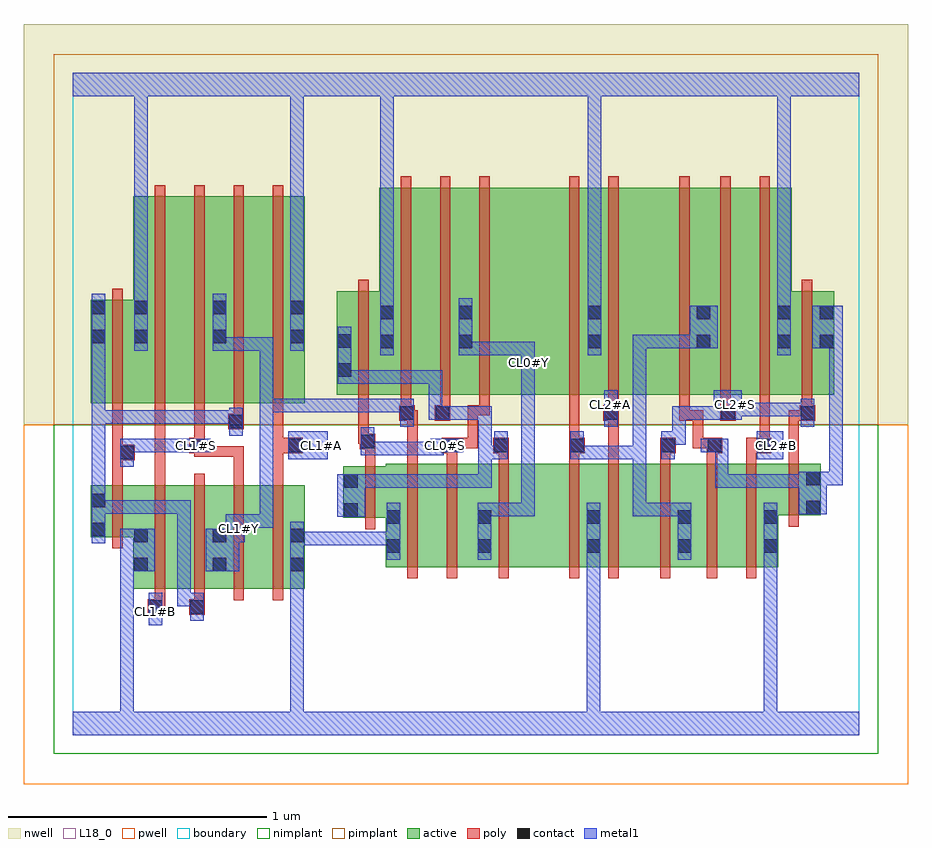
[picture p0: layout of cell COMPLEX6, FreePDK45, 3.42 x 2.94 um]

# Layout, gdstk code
import gdstk
lib = gdstk.Library(unit=1e-6, precision=1e-09)
def R(c, l, rs):  # rectangles x0, y0, x1, y1
    for r in rs: c.add(gdstk.rectangle(r[:2], r[2:], *l))
def A(c, l, x, y, w, h, nx, ny, dx, dy):  # array of equal rectangles
    R(c, l, [(x+i*dx, y+j*dy, x+i*dx+w, y+j*dy+h) for i in range(nx) for j in range(ny)])
active = (1, 0)
pwell = (2, 0)
nwell = (3, 0)
nimplant = (4, 0)
pimplant = (5, 0)
poly = (9, 0)
contact = (10, 0)
metal1 = (11, 0)
L18_0 = (18, 0)
boundary = (235, 0)

complex6 = lib.new_cell('COMPLEX6')
R(complex6, active, [(0.234,0.566,0.414,0.966), (0.234,0.566,0.294,0.966), (0.414,0.566,0.598,0.966), (0.538,0.566,0.718,0.966), (0.538,0.566,0.598,0.966), (0.718,0.566,0.898,0.966), (0.838,0.566,0.898,0.966), (1.21,0.65,1.39,1.05), (1.39,0.65,1.622,1.05), (1.562,0.65,1.742,1.05), (1.562,0.65,1.622,0.874), (1.742,0.65,2.042,1.05), (1.982,0.65,2.042,0.874), (1.982,0.65,2.166,1.05), (2.166,0.65,2.394,1.05), (2.334,0.65,2.546,1.05), (2.334,0.65,2.394,0.874), (2.546,0.65,2.726,1.05), (2.666,0.65,2.726,1.028), (1.21,0.702,1.27,1.028), (0.07,0.766,0.13,0.966), (0.07,0.766,0.294,0.966), (1.046,0.84,1.106,1.04), (1.046,0.84,1.27,1.04), (2.666,0.85,2.89,1.05), (2.83,0.85,2.89,1.05), (0.07,1.282,0.13,1.682), (0.07,1.282,0.294,1.682), (0.234,1.282,0.414,2.082), (0.234,1.282,0.294,2.082), (0.414,1.282,0.598,2.082), (0.538,1.282,0.718,2.082), (0.538,1.282,0.598,2.044), (0.718,1.282,0.898,2.082), (0.838,1.282,0.898,2.044), (1.02,1.316,1.244,1.716), (1.02,1.316,1.08,1.644), (1.184,1.316,1.364,2.116), (1.364,1.316,1.548,2.116), (1.488,1.316,1.862,2.116), (1.862,1.316,2.046,2.116), (1.986,1.316,2.166,2.116), (1.986,1.316,2.046,2.044), (2.166,1.316,2.468,2.116), (2.408,1.316,2.598,2.116), (2.598,1.316,2.778,2.116), (2.718,1.316,2.942,1.716), (2.882,1.316,2.942,1.716), (1.184,1.442,1.244,2.116), (1.488,1.472,1.548,2.044), (2.408,1.472,2.468,2.044), (2.718,1.472,2.778,2.116)])
R(complex6, pwell, [(-0.188,-0.188,3.228,1.2)])
R(complex6, nwell, [(-0.188,1.2,3.228,2.748)])
R(complex6, nimplant, [(-0.072,-0.072,3.112,1.2)])
R(complex6, pimplant, [(-0.072,1.2,3.112,2.632)])
A(complex6, poly, 0.318, 0.522, 0.04, 0.488, 4, 1, 0.152, 0)
A(complex6, poly, 1.268, 1.236, 0.04, 0.076, 3, 1, 0.152, 0)
A(complex6, poly, 0.318, 1.238, 0.04, 0.888, 4, 1, 0.152, 0)
A(complex6, poly, 1.268, 1.272, 0.04, 0.888, 3, 1, 0.152, 0)
R(complex6, poly, [(0.29,0.466,0.358,0.526), (0.45,0.466,0.51,0.526), (0.318,0.486,0.358,0.562), (0.47,0.486,0.51,0.562), (1.294,0.606,1.334,1.094), (1.446,0.606,1.486,1.094), (1.646,0.606,1.686,1.094), (1.918,0.606,1.958,1.094), (2.07,0.606,2.11,1.094), (2.27,0.606,2.31,1.094), (2.45,0.606,2.49,1.094), (2.602,0.606,2.642,1.094), (0.154,0.722,0.194,1.01), (1.13,0.796,1.17,1.084), (2.766,0.806,2.806,1.094), (0.154,0.97,0.194,1.102), (0.318,0.97,0.358,1.124), (0.622,0.97,0.662,1.116), (0.774,0.97,0.814,1.13), (1.13,1.044,1.17,1.146), (1.294,1.054,1.334,1.256), (1.446,1.054,1.486,1.13), (1.646,1.054,1.686,1.13), (1.918,1.054,1.958,1.13), (2.07,1.054,2.11,1.256), (2.27,1.054,2.31,1.13), (2.45,1.054,2.49,1.13), (2.602,1.054,2.642,1.13), (2.766,1.054,2.806,1.256), (0.154,1.062,0.24,1.122), (0.47,1.076,0.662,1.116), (0.47,1.076,0.51,1.13), (0.622,1.076,0.662,1.116), (0.154,1.082,0.194,1.122), (0.154,1.082,0.194,1.122), (0.154,1.082,0.194,1.278), (0.318,1.084,0.358,1.124), (0.318,1.084,0.358,1.124), (0.318,1.084,0.358,1.124), (0.318,1.084,0.358,1.278), (0.45,1.09,0.51,1.15), (0.47,1.09,0.51,1.13), (0.774,1.09,0.89,1.15), (1.426,1.09,1.486,1.15), (1.626,1.09,1.686,1.15), (1.918,1.09,1.978,1.15), (2.27,1.09,2.33,1.15), (2.45,1.09,2.51,1.15), (2.602,1.09,2.7,1.15), (1.11,1.106,1.17,1.166), (0.47,1.11,0.51,1.15), (0.47,1.11,0.51,1.15), (0.47,1.11,0.51,1.278), (0.774,1.11,0.814,1.15), (0.774,1.11,0.814,1.15), (0.774,1.11,0.814,1.278), (1.446,1.11,1.566,1.15), (1.526,1.11,1.566,1.15), (1.526,1.11,1.566,1.276), (1.918,1.11,1.958,1.15), (1.918,1.11,1.958,1.15), (1.918,1.11,1.958,1.312), (2.396,1.11,2.436,1.15), (2.396,1.11,2.49,1.15), (2.396,1.11,2.436,1.256), (2.654,1.11,2.694,1.15), (2.654,1.11,2.694,1.15), (2.654,1.11,2.694,1.312), (1.104,1.126,1.144,1.312), (1.104,1.126,1.15,1.166), (1.11,1.126,1.15,1.166), (0.602,1.182,0.662,1.242), (0.622,1.202,0.662,1.278), (1.262,1.216,1.322,1.276), (1.282,1.216,1.322,1.256), (1.282,1.216,1.334,1.256), (1.4,1.216,1.46,1.276), (2.05,1.216,2.11,1.276), (2.07,1.216,2.11,1.256), (2.07,1.216,2.11,1.256), (2.344,1.216,2.384,1.256), (2.344,1.216,2.436,1.256), (2.344,1.216,2.384,1.312), (2.396,1.216,2.436,1.256), (2.502,1.216,2.562,1.276), (2.766,1.216,2.85,1.256), (2.81,1.216,2.85,1.256), (2.81,1.216,2.87,1.276), (1.526,1.236,1.566,1.276), (1.526,1.236,1.612,1.276), (1.572,1.236,1.612,1.276), (2.07,1.236,2.11,1.312), (2.502,1.236,2.542,1.312), (2.818,1.236,2.858,1.312), (0.154,1.238,0.194,1.726), (1.104,1.272,1.144,1.76), (1.918,1.272,1.958,2.16), (2.07,1.272,2.11,2.16), (2.344,1.272,2.384,2.16), (2.502,1.272,2.542,2.16), (2.654,1.272,2.694,2.16), (2.818,1.272,2.858,1.76)])
R(complex6, contact, [(0.294,0.47,0.346,0.522), (0.454,0.47,0.506,0.522), (0.238,0.634,0.29,0.686), (0.542,0.634,0.594,0.686), (0.842,0.634,0.894,0.686), (1.214,0.706,1.266,0.758), (1.566,0.706,1.618,0.758), (1.986,0.706,2.038,0.758), (2.338,0.706,2.39,0.758), (2.67,0.706,2.722,0.758), (0.238,0.746,0.29,0.798), (0.542,0.746,0.594,0.798), (0.842,0.746,0.894,0.798), (0.074,0.77,0.126,0.822), (1.214,0.818,1.266,0.87), (1.566,0.818,1.618,0.87), (1.986,0.818,2.038,0.87), (2.338,0.818,2.39,0.87), (2.67,0.818,2.722,0.87), (1.05,0.844,1.102,0.896), (2.834,0.854,2.886,0.906), (0.074,0.882,0.126,0.934), (1.05,0.956,1.102,1.008), (2.834,0.966,2.886,1.018), (0.184,1.066,0.236,1.118), (0.454,1.094,0.506,1.146), (0.834,1.094,0.886,1.146), (1.43,1.094,1.482,1.146), (1.63,1.094,1.682,1.146), (1.922,1.094,1.974,1.146), (2.274,1.094,2.326,1.146), (2.454,1.094,2.506,1.146), (2.644,1.094,2.696,1.146), (1.114,1.11,1.166,1.162), (0.606,1.186,0.658,1.238), (1.266,1.22,1.318,1.272), (1.404,1.22,1.456,1.272), (2.054,1.22,2.106,1.272), (2.506,1.22,2.558,1.272), (2.814,1.22,2.866,1.272), (1.024,1.386,1.076,1.438), (1.188,1.496,1.24,1.548), (1.492,1.496,1.544,1.548), (1.99,1.496,2.042,1.548), (2.412,1.496,2.464,1.548), (2.722,1.496,2.774,1.548), (2.886,1.496,2.938,1.548), (1.024,1.498,1.076,1.55), (0.074,1.514,0.126,1.566), (0.238,1.514,0.29,1.566), (0.542,1.514,0.594,1.566), (0.842,1.514,0.894,1.566), (1.188,1.608,1.24,1.66), (1.492,1.608,1.544,1.66), (1.99,1.608,2.042,1.66), (2.412,1.608,2.464,1.66), (2.722,1.608,2.774,1.66), (2.886,1.608,2.938,1.66), (0.074,1.626,0.126,1.678), (0.238,1.626,0.29,1.678), (0.542,1.626,0.594,1.678), (0.842,1.626,0.894,1.678)])
R(complex6, metal1, [(0,0,3.04,0.092), (0.184,0.04,0.236,0.092), (0.184,0.04,0.236,0.092), (0.184,0.04,0.236,0.092), (0.184,0.04,0.236,0.092), (0.184,0.04,0.236,0.092), (0.184,0.04,0.236,0.092), (0.184,0.04,0.236,0.092), (0.184,0.04,0.236,0.092), (0.184,0.04,0.236,0.092), (0.184,0.04,0.236,0.092), (0.184,0.04,0.236,0.092), (0.184,0.04,0.236,0.092), (0.184,0.04,0.236,0.686), (0.842,0.04,0.894,0.092), (0.842,0.04,0.894,0.092), (0.842,0.04,0.894,0.658), (1.986,0.04,2.038,0.092), (1.986,0.04,2.038,0.092), (1.986,0.04,2.038,0.73), (2.67,0.04,2.722,0.092), (2.67,0.04,2.722,0.092), (2.67,0.04,2.722,0.092), (2.67,0.04,2.722,0.092), (2.67,0.04,2.722,0.092), (2.67,0.04,2.722,0.092), (2.67,0.04,2.722,0.092), (2.67,0.04,2.722,0.092), (2.67,0.04,2.722,0.73), (0.294,0.426,0.346,0.55), (0.454,0.442,0.506,0.55), (0.404,0.498,0.456,0.55), (0.404,0.498,0.456,0.55), (0.404,0.498,0.456,0.55), (0.404,0.498,0.506,0.55), (0.404,0.498,0.456,0.84), (0.842,0.606,0.894,0.658), (0.842,0.606,0.894,0.658), (0.842,0.606,0.894,0.658), (0.842,0.606,0.894,0.658), (0.842,0.606,0.894,0.658), (0.842,0.606,0.894,0.658), (0.842,0.606,0.894,0.658), (0.842,0.606,0.894,0.658), (0.842,0.606,0.894,0.658), (0.842,0.606,0.894,0.658), (0.842,0.606,0.894,0.826), (0.184,0.634,0.318,0.798), (0.514,0.634,0.644,0.798), (1.214,0.678,1.266,0.898), (1.566,0.678,1.618,0.898), (1.986,0.678,2.038,0.73), (1.986,0.678,2.038,0.73), (1.986,0.678,2.038,0.73), (1.986,0.678,2.038,0.73), (1.986,0.678,2.038,0.73), (1.986,0.678,2.038,0.73), (1.986,0.678,2.038,0.73), (1.986,0.678,2.038,0.73), (1.986,0.678,2.038,0.73), (1.986,0.678,2.038,0.73), (1.986,0.678,2.038,0.898), (2.338,0.678,2.39,0.898), (2.67,0.678,2.722,0.73), (2.67,0.678,2.722,0.73), (2.67,0.678,2.722,0.73), (2.67,0.678,2.722,0.73), (2.67,0.678,2.722,0.898), (0.842,0.734,0.894,0.786), (0.842,0.734,0.894,0.786), (0.842,0.734,1.166,0.786), (1.114,0.734,1.166,0.786), (1.114,0.734,1.266,0.786), (0.074,0.742,0.126,0.962), (0.592,0.746,0.644,0.798), (0.592,0.746,0.666,0.854), (0.404,0.788,0.456,0.84), (0.404,0.788,0.456,0.908), (0.614,0.802,0.666,0.854), (0.614,0.802,0.666,0.854), (0.614,0.802,0.776,0.854), (0.724,0.802,0.776,0.854), (0.724,0.802,0.776,1.3), (1.022,0.844,1.13,1.008), (1.566,0.846,1.786,0.898), (1.734,0.846,1.786,0.898), (1.734,0.846,1.786,0.898), (1.734,0.846,1.786,0.898), (1.734,0.846,1.786,0.898), (1.734,0.846,1.786,0.898), (1.734,0.846,1.786,1.438), (2.164,0.846,2.216,0.898), (2.164,0.846,2.216,0.898), (2.164,0.846,2.216,0.898), (2.164,0.846,2.39,0.898), (2.164,0.846,2.216,1.118), (2.806,0.854,2.914,1.018), (0.074,0.856,0.126,0.908), (0.074,0.856,0.126,0.908), (0.074,0.856,0.346,0.908), (0.294,0.856,0.346,0.908), (0.294,0.856,0.346,0.908), (0.294,0.856,0.346,0.908), (0.294,0.856,0.456,0.908), (0.404,0.856,0.456,0.908), (0.404,0.856,0.456,0.908), (0.404,0.856,0.456,0.908), (0.074,0.91,0.126,0.962), (0.074,0.91,0.126,0.962), (0.074,0.91,0.126,1.256), (1.078,0.956,1.13,1.008), (1.078,0.956,1.13,1.008), (1.078,0.956,1.276,1.008), (1.224,0.956,1.276,1.008), (1.224,0.956,1.276,1.008), (1.224,0.956,1.276,1.008), (1.224,0.956,1.434,1.008), (1.382,0.956,1.434,1.008), (1.382,0.956,1.434,1.008), (1.382,0.956,1.434,1.008), (1.382,0.956,1.62,1.008), (1.568,0.956,1.62,1.008), (1.568,0.956,1.62,1.118), (2.482,0.956,2.534,1.008), (2.482,0.956,2.748,1.008), (2.482,0.956,2.534,1.146), (2.696,0.956,2.748,1.008), (2.696,0.956,2.748,1.008), (2.696,0.956,2.748,1.008), (2.696,0.956,2.858,1.008), (2.806,0.956,2.858,1.008), (2.806,0.956,2.858,1.008), (2.862,0.966,2.914,1.018), (2.862,0.966,2.976,1.018), (2.924,0.966,2.976,1.548), (0.184,1.038,0.236,1.146), (0.834,1.066,0.986,1.174), (1.568,1.066,1.62,1.118), (1.568,1.066,1.682,1.118), (1.568,1.066,1.62,1.272), (1.63,1.066,1.682,1.174), (1.922,1.066,1.974,1.118), (1.922,1.066,1.974,1.118), (1.922,1.066,1.974,1.174), (1.922,1.066,2.084,1.118), (2.032,1.066,2.084,1.118), (2.032,1.066,2.216,1.118), (2.164,1.066,2.216,1.118), (2.164,1.066,2.216,1.118), (2.164,1.066,2.216,1.118), (2.164,1.066,2.216,1.548), (2.274,1.066,2.326,1.174), (2.644,1.066,2.746,1.174), (1.114,1.082,1.166,1.19), (1.114,1.082,1.276,1.134), (1.224,1.082,1.276,1.134), (1.224,1.082,1.276,1.134), (1.224,1.082,1.276,1.134), (1.224,1.082,1.434,1.134), (1.382,1.082,1.434,1.146), (0.184,1.094,0.346,1.146), (0.294,1.094,0.346,1.146), (0.294,1.094,0.346,1.146), (0.294,1.094,0.346,1.146), (0.294,1.094,0.456,1.146), (0.404,1.094,0.456,1.146), (0.404,1.094,0.478,1.146), (0.426,1.094,0.534,1.146), (1.382,1.094,1.438,1.146), (1.386,1.094,1.51,1.146), (2.426,1.094,2.534,1.146), (2.482,1.094,2.534,1.146), (2.482,1.094,2.534,1.146), (2.274,1.122,2.368,1.174), (2.316,1.122,2.368,1.174), (2.316,1.122,2.368,1.272), (0.606,1.158,0.658,1.266), (1.266,1.192,1.318,1.3), (2.054,1.192,2.106,1.334), (2.814,1.192,2.866,1.3), (0.074,1.204,0.126,1.256), (0.074,1.204,0.126,1.256), (0.074,1.204,0.126,1.256), (0.074,1.204,0.346,1.256), (0.074,1.204,0.126,1.538), (0.294,1.204,0.346,1.256), (0.294,1.204,0.346,1.256), (0.294,1.204,0.346,1.256), (0.294,1.204,0.456,1.256), (0.404,1.204,0.456,1.256), (0.404,1.204,0.456,1.256), (0.404,1.204,0.456,1.256), (0.404,1.204,0.658,1.256), (0.606,1.204,0.658,1.256), (0.606,1.204,0.658,1.256), (1.376,1.22,1.428,1.272), (1.376,1.22,1.428,1.272), (1.376,1.22,1.428,1.41), (1.376,1.22,1.484,1.272), (1.432,1.22,1.62,1.272), (1.568,1.22,1.62,1.272), (2.316,1.22,2.368,1.272), (2.316,1.22,2.53,1.272), (2.478,1.22,2.586,1.334), (2.534,1.232,2.586,1.284), (2.534,1.232,2.586,1.284), (2.534,1.232,2.748,1.284), (2.696,1.232,2.748,1.284), (2.696,1.232,2.748,1.284), (2.696,1.232,2.748,1.284), (2.696,1.232,2.866,1.284), (0.724,1.248,0.776,1.3), (0.724,1.248,0.776,1.3), (0.724,1.248,0.776,1.3), (0.724,1.248,0.886,1.3), (0.724,1.248,0.776,1.538), (0.834,1.248,0.886,1.3), (0.834,1.248,0.886,1.3), (0.834,1.248,0.886,1.3), (0.834,1.248,1.004,1.3), (0.952,1.248,1.004,1.3), (0.952,1.248,1.318,1.3), (1.266,1.248,1.318,1.3), (1.266,1.248,1.318,1.3), (1.024,1.358,1.076,1.41), (1.024,1.358,1.076,1.41), (1.024,1.358,1.076,1.578), (1.024,1.358,1.318,1.41), (1.266,1.358,1.318,1.41), (1.266,1.358,1.318,1.41), (1.266,1.358,1.318,1.41), (1.266,1.358,1.428,1.41), (1.376,1.358,1.428,1.41), (1.734,1.386,1.786,1.494), (1.734,1.442,1.786,1.52), (1.188,1.468,1.24,1.688), (1.492,1.468,1.544,1.688), (1.492,1.468,1.786,1.52), (1.734,1.468,1.786,1.52), (1.734,1.468,1.786,1.52), (1.734,1.468,1.786,1.52), (1.734,1.468,1.786,1.52), (1.734,1.468,1.786,1.52), (1.99,1.468,2.042,1.688), (2.722,1.468,2.774,1.688), (0.074,1.486,0.126,1.706), (0.238,1.486,0.29,1.706), (0.542,1.486,0.594,1.706), (0.542,1.486,0.666,1.538), (0.614,1.486,0.666,1.538), (0.614,1.486,0.776,1.538), (0.724,1.486,0.776,1.538), (0.842,1.486,0.894,1.706), (2.164,1.496,2.216,1.548), (2.164,1.496,2.368,1.548), (2.316,1.496,2.368,1.548), (2.316,1.496,2.436,1.548), (2.384,1.496,2.492,1.66), (2.858,1.496,2.976,1.66), (2.924,1.496,2.976,1.548), (2.924,1.496,2.976,1.548), (1.188,1.636,1.24,2.52), (1.99,1.636,2.042,2.52), (2.722,1.636,2.774,2.52), (0.238,1.654,0.29,2.52), (0.842,1.654,0.894,1.706), (0.842,1.654,0.894,1.706), (0.842,1.654,0.894,1.706), (0.842,1.654,0.894,1.706), (0.842,1.654,0.894,1.706), (0.842,1.654,0.894,1.706), (0.842,1.654,0.894,2.52), (0,2.468,3.04,2.56), (0.238,2.468,0.29,2.52), (0.238,2.468,0.29,2.52), (0.238,2.468,0.29,2.52), (0.238,2.468,0.29,2.52), (0.238,2.468,0.29,2.52), (0.238,2.468,0.29,2.52), (0.238,2.468,0.29,2.52), (0.238,2.468,0.29,2.52), (0.842,2.468,0.894,2.52), (0.842,2.468,0.894,2.52), (1.188,2.468,1.24,2.52), (1.188,2.468,1.24,2.52), (1.188,2.468,1.24,2.52), (1.188,2.468,1.24,2.52), (1.188,2.468,1.24,2.52), (1.188,2.468,1.24,2.52), (1.188,2.468,1.24,2.52), (1.188,2.468,1.24,2.52), (1.99,2.468,2.042,2.52), (1.99,2.468,2.042,2.52), (1.99,2.468,2.042,2.52), (1.99,2.468,2.042,2.52), (1.99,2.468,2.042,2.52), (1.99,2.468,2.042,2.52), (1.99,2.468,2.042,2.52), (1.99,2.468,2.042,2.52), (2.722,2.468,2.774,2.52), (2.722,2.468,2.774,2.52), (2.722,2.468,2.774,2.52), (2.722,2.468,2.774,2.52), (2.722,2.468,2.774,2.52), (2.722,2.468,2.774,2.52), (2.722,2.468,2.774,2.52), (2.722,2.468,2.774,2.52)])
A(complex6, L18_0, 0.454, 1.094, 0.052, 0.052, 3, 1, 0.48, 0)
R(complex6, L18_0, [(0,0,3.04,0.092), (0.184,0.04,0.236,0.092), (0.184,0.04,0.236,0.092), (0.184,0.04,0.236,0.092), (0.184,0.04,0.236,0.092), (0.184,0.04,0.236,0.092), (0.184,0.04,0.236,0.092), (0.184,0.04,0.236,0.092), (0.184,0.04,0.236,0.092), (0.184,0.04,0.236,0.092), (0.184,0.04,0.236,0.092), (0.184,0.04,0.236,0.092), (0.184,0.04,0.236,0.092), (0.184,0.04,0.236,0.686), (0.842,0.04,0.894,0.092), (0.842,0.04,0.894,0.092), (0.842,0.04,0.894,0.658), (1.986,0.04,2.038,0.092), (1.986,0.04,2.038,0.092), (1.986,0.04,2.038,0.73), (2.67,0.04,2.722,0.092), (2.67,0.04,2.722,0.092), (2.67,0.04,2.722,0.092), (2.67,0.04,2.722,0.092), (2.67,0.04,2.722,0.092), (2.67,0.04,2.722,0.092), (2.67,0.04,2.722,0.092), (2.67,0.04,2.722,0.092), (2.67,0.04,2.722,0.73), (0.294,0.426,0.346,0.55), (0.294,0.454,0.346,0.506), (0.842,0.606,0.894,0.658), (0.842,0.606,0.894,0.658), (0.842,0.606,0.894,0.658), (0.842,0.606,0.894,0.658), (0.842,0.606,0.894,0.658), (0.842,0.606,0.894,0.658), (0.842,0.606,0.894,0.658), (0.842,0.606,0.894,0.658), (0.842,0.606,0.894,0.658), (0.842,0.606,0.894,0.658), (0.842,0.606,0.894,0.826), (0.184,0.634,0.318,0.798), (0.514,0.634,0.644,0.798), (1.214,0.678,1.266,0.898), (1.566,0.678,1.618,0.898), (1.986,0.678,2.038,0.73), (1.986,0.678,2.038,0.73), (1.986,0.678,2.038,0.73), (1.986,0.678,2.038,0.73), (1.986,0.678,2.038,0.73), (1.986,0.678,2.038,0.73), (1.986,0.678,2.038,0.73), (1.986,0.678,2.038,0.73), (1.986,0.678,2.038,0.73), (1.986,0.678,2.038,0.73), (1.986,0.678,2.038,0.898), (2.67,0.678,2.722,0.73), (2.67,0.678,2.722,0.73), (2.67,0.678,2.722,0.73), (2.67,0.678,2.722,0.73), (2.67,0.678,2.722,0.898), (0.842,0.734,0.894,0.786), (0.842,0.734,0.894,0.786), (0.842,0.734,1.166,0.786), (1.114,0.734,1.166,0.786), (1.114,0.734,1.266,0.786), (0.592,0.746,0.644,0.798), (0.592,0.746,0.666,0.854), (0.614,0.774,0.666,0.826), (0.614,0.802,0.666,0.854), (0.614,0.802,0.666,0.854), (0.614,0.802,0.776,0.854), (0.724,0.802,0.776,0.854), (0.724,0.802,0.776,1.3), (1.566,0.846,1.786,0.898), (1.734,0.846,1.786,0.898), (1.734,0.846,1.786,0.898), (1.734,0.846,1.786,0.898), (1.734,0.846,1.786,0.898), (1.734,0.846,1.786,0.898), (1.734,0.846,1.786,1.438), (0.184,1.038,0.236,1.146), (0.834,1.066,0.986,1.174), (2.274,1.066,2.326,1.174), (2.644,1.066,2.746,1.174), (1.114,1.082,1.166,1.19), (1.114,1.082,1.276,1.134), (1.224,1.082,1.276,1.134), (1.224,1.082,1.276,1.134), (1.224,1.082,1.276,1.134), (1.224,1.082,1.434,1.134), (1.382,1.082,1.434,1.146), (0.184,1.094,0.346,1.146), (0.294,1.094,0.346,1.146), (0.294,1.094,0.346,1.146), (0.294,1.094,0.346,1.146), (0.294,1.094,0.456,1.146), (0.404,1.094,0.456,1.146), (0.404,1.094,0.478,1.146), (0.426,1.094,0.534,1.146), (1.382,1.094,1.438,1.146), (1.386,1.094,1.51,1.146), (2.694,1.094,2.746,1.146), (2.274,1.122,2.368,1.174), (2.316,1.122,2.368,1.174), (2.316,1.122,2.368,1.272), (1.266,1.192,1.318,1.3), (2.054,1.192,2.106,1.334), (2.814,1.192,2.866,1.3), (2.316,1.22,2.368,1.272), (2.316,1.22,2.53,1.272), (2.478,1.22,2.586,1.334), (2.534,1.232,2.586,1.284), (2.534,1.232,2.586,1.284), (2.534,1.232,2.748,1.284), (2.696,1.232,2.748,1.284), (2.696,1.232,2.748,1.284), (2.696,1.232,2.748,1.284), (2.696,1.232,2.866,1.284), (0.724,1.248,0.776,1.3), (0.724,1.248,0.776,1.3), (0.724,1.248,0.776,1.3), (0.724,1.248,0.886,1.3), (0.724,1.248,0.776,1.538), (0.834,1.248,0.886,1.3), (0.834,1.248,0.886,1.3), (0.834,1.248,0.886,1.3), (0.834,1.248,1.004,1.3), (0.952,1.248,1.004,1.3), (0.952,1.248,1.318,1.3), (1.266,1.248,1.318,1.3), (1.266,1.248,1.318,1.3), (2.054,1.254,2.106,1.306), (2.534,1.254,2.586,1.306), (1.734,1.386,1.786,1.494), (1.734,1.414,1.786,1.466), (1.734,1.442,1.786,1.52), (1.188,1.468,1.24,1.688), (1.492,1.468,1.544,1.688), (1.492,1.468,1.786,1.52), (1.734,1.468,1.786,1.52), (1.734,1.468,1.786,1.52), (1.734,1.468,1.786,1.52), (1.734,1.468,1.786,1.52), (1.734,1.468,1.786,1.52), (1.99,1.468,2.042,1.688), (2.722,1.468,2.774,1.688), (0.238,1.486,0.29,1.706), (0.542,1.486,0.594,1.706), (0.542,1.486,0.666,1.538), (0.614,1.486,0.666,1.538), (0.614,1.486,0.776,1.538), (0.724,1.486,0.776,1.538), (0.842,1.486,0.894,1.706), (1.188,1.636,1.24,2.52), (1.99,1.636,2.042,2.52), (2.722,1.636,2.774,2.52), (0.238,1.654,0.29,2.52), (0.842,1.654,0.894,1.706), (0.842,1.654,0.894,1.706), (0.842,1.654,0.894,1.706), (0.842,1.654,0.894,1.706), (0.842,1.654,0.894,1.706), (0.842,1.654,0.894,1.706), (0.842,1.654,0.894,2.52), (0,2.468,3.04,2.56), (0.238,2.468,0.29,2.52), (0.238,2.468,0.29,2.52), (0.238,2.468,0.29,2.52), (0.238,2.468,0.29,2.52), (0.238,2.468,0.29,2.52), (0.238,2.468,0.29,2.52), (0.238,2.468,0.29,2.52), (0.238,2.468,0.29,2.52), (0.842,2.468,0.894,2.52), (0.842,2.468,0.894,2.52), (1.188,2.468,1.24,2.52), (1.188,2.468,1.24,2.52), (1.188,2.468,1.24,2.52), (1.188,2.468,1.24,2.52), (1.188,2.468,1.24,2.52), (1.188,2.468,1.24,2.52), (1.188,2.468,1.24,2.52), (1.188,2.468,1.24,2.52), (1.99,2.468,2.042,2.52), (1.99,2.468,2.042,2.52), (1.99,2.468,2.042,2.52), (1.99,2.468,2.042,2.52), (1.99,2.468,2.042,2.52), (1.99,2.468,2.042,2.52), (1.99,2.468,2.042,2.52), (1.99,2.468,2.042,2.52), (2.722,2.468,2.774,2.52), (2.722,2.468,2.774,2.52), (2.722,2.468,2.774,2.52), (2.722,2.468,2.774,2.52), (2.722,2.468,2.774,2.52), (2.722,2.468,2.774,2.52), (2.722,2.468,2.774,2.52), (2.722,2.468,2.774,2.52)])
R(complex6, boundary, [(0,0,3.04,2.56)])
complex6.add(gdstk.Label('CL0#S', (1.44,1.12), layer=11, texttype=0))
complex6.add(gdstk.Label('CL0#Y', (1.76,1.44), layer=11, texttype=0))
complex6.add(gdstk.Label('CL1#A', (0.96,1.12), layer=11, texttype=0))
complex6.add(gdstk.Label('CL1#B', (0.32,0.48), layer=11, texttype=0))
complex6.add(gdstk.Label('CL1#S', (0.48,1.12), layer=11, texttype=0))
complex6.add(gdstk.Label('CL1#Y', (0.64,0.8), layer=11, texttype=0))
complex6.add(gdstk.Label('CL2#A', (2.08,1.28), layer=11, texttype=0))
complex6.add(gdstk.Label('CL2#B', (2.72,1.12), layer=11, texttype=0))
complex6.add(gdstk.Label('CL2#S', (2.56,1.28), layer=11, texttype=0))

lib.write_gds('COMPLEX6.gds')
